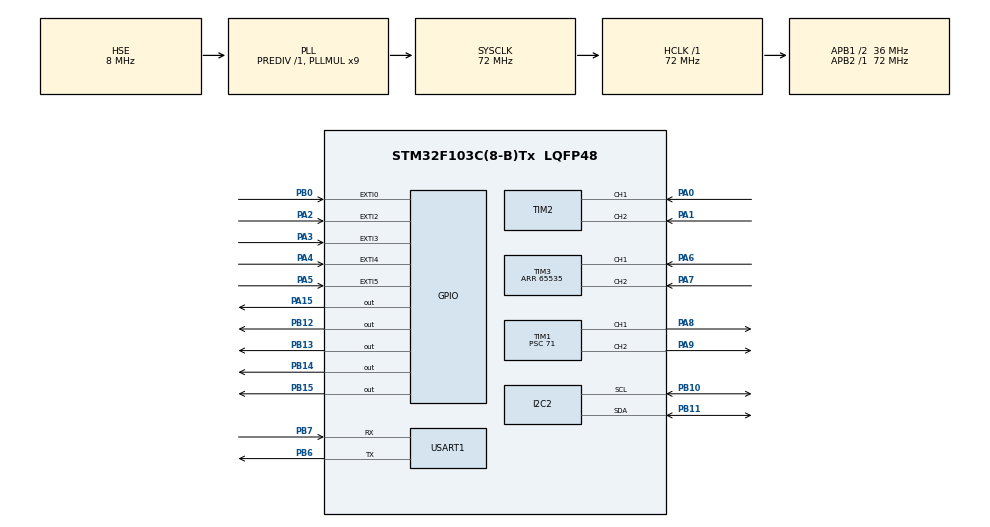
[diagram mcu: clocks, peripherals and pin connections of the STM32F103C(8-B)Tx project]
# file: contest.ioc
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Dma.Request0=USART1_RX
Dma.Request1=USART1_TX
Dma.USART1_RX.0.Direction=DMA_PERIPH_TO_MEMORY
Dma.USART1_RX.0.Instance=DMA1_Channel5
Dma.USART1_RX.0.MemDataAlignment=DMA_MDATAALIGN_BYTE
Dma.USART1_RX.0.MemInc=DMA_MINC_ENABLE
Dma.USART1_RX.0.Mode=DMA_NORMAL
Dma.USART1_RX.0.PeriphDataAlignment=DMA_PDATAALIGN_BYTE
Dma.USART1_RX.0.PeriphInc=DMA_PINC_DISABLE
Dma.USART1_RX.0.Priority=DMA_PRIORITY_LOW
Dma.USART1_TX.1.Direction=DMA_MEMORY_TO_PERIPH
Dma.USART1_TX.1.Instance=DMA1_Channel4
Dma.USART1_TX.1.MemDataAlignment=DMA_MDATAALIGN_BYTE
Dma.USART1_TX.1.MemInc=DMA_MINC_ENABLE
Dma.USART1_TX.1.Mode=DMA_NORMAL
Dma.USART1_TX.1.PeriphDataAlignment=DMA_PDATAALIGN_BYTE
Dma.USART1_TX.1.PeriphInc=DMA_PINC_DISABLE
Dma.USART1_TX.1.Priority=DMA_PRIORITY_LOW
I2C2.I2C_Mode=I2C_Fast
Mcu.Family=STM32F1
Mcu.Name=STM32F103C(8-B)Tx
Mcu.Package=LQFP48
NVIC.DMA1_Channel4_IRQn=true\:0\:0\:false\:false\:true\:false\:true\:true
NVIC.DMA1_Channel5_IRQn=true\:0\:0\:false\:false\:true\:false\:true\:true
NVIC.EXTI0_IRQn=true\:1\:0\:true\:false\:true\:true\:true\:true
NVIC.EXTI2_IRQn=true\:1\:0\:true\:false\:true\:true\:true\:true
NVIC.EXTI3_IRQn=true\:1\:0\:true\:false\:true\:true\:true\:true
NVIC.EXTI4_IRQn=true\:1\:0\:true\:false\:true\:true\:true\:true
NVIC.EXTI9_5_IRQn=true\:1\:0\:true\:false\:true\:true\:true\:true
NVIC.PriorityGroup=NVIC_PRIORITYGROUP_4
NVIC.TIM4_IRQn=true\:15\:0\:false\:false\:true\:false\:true\:true
NVIC.TimeBase=TIM4_IRQn
NVIC.TimeBaseIP=TIM4
NVIC.USART1_IRQn=true\:0\:0\:false\:false\:true\:true\:true\:true
PA0-WKUP.GPIO_PuPd=GPIO_PULLUP
PA0-WKUP.Signal=S_TIM2_CH1_ETR
PA1.GPIO_PuPd=GPIO_PULLUP
PA1.Signal=S_TIM2_CH2
PA13.Mode=Serial_Wire
PA13.Signal=SYS_JTMS-SWDIO
PA14.Mode=Serial_Wire
PA14.Signal=SYS_JTCK-SWCLK
PA15.GPIO_Speed=GPIO_SPEED_FREQ_HIGH
PA15.Signal=GPIO_Output
PA2.GPIO_ModeDefaultEXTI=GPIO_MODE_IT_RISING_FALLING
PA2.GPIO_PuPd=GPIO_PULLUP
PA2.Signal=GPXTI2
PA3.GPIO_ModeDefaultEXTI=GPIO_MODE_IT_RISING_FALLING
PA3.GPIO_PuPd=GPIO_PULLUP
PA3.Signal=GPXTI3
PA4.GPIO_ModeDefaultEXTI=GPIO_MODE_IT_RISING_FALLING
PA4.GPIO_PuPd=GPIO_PULLUP
PA4.Signal=GPXTI4
PA5.GPIO_ModeDefaultEXTI=GPIO_MODE_IT_RISING_FALLING
PA5.GPIO_PuPd=GPIO_PULLUP
PA5.Signal=GPXTI5
PA6.GPIO_PuPd=GPIO_PULLUP
PA6.Signal=S_TIM3_CH1
PA7.GPIO_PuPd=GPIO_PULLUP
PA7.Signal=S_TIM3_CH2
PA8.Signal=S_TIM1_CH1
PA9.Signal=S_TIM1_CH2
PB0.GPIO_ModeDefaultEXTI=GPIO_MODE_IT_RISING_FALLING
PB0.GPIO_PuPd=GPIO_PULLUP
PB0.Signal=GPXTI0
PB10.Mode=I2C
PB10.Signal=I2C2_SCL
PB11.Mode=I2C
PB11.Signal=I2C2_SDA
PB12.GPIO_Speed=GPIO_SPEED_FREQ_LOW
PB12.Signal=GPIO_Output
PB13.Signal=GPIO_Output
PB14.GPIO_Speed=GPIO_SPEED_FREQ_LOW
PB14.Signal=GPIO_Output
PB15.GPIO_Speed=GPIO_SPEED_FREQ_LOW
PB15.Signal=GPIO_Output
PB6.Mode=Asynchronous
PB6.Signal=USART1_TX
PB7.Mode=Asynchronous
PB7.Signal=USART1_RX
PC14-OSC32_IN.Mode=LSE-External-Oscillator
PC14-OSC32_IN.Signal=RCC_OSC32_IN
PC15-OSC32_OUT.Mode=LSE-External-Oscillator
PC15-OSC32_OUT.Signal=RCC_OSC32_OUT
PD0-OSC_IN.Mode=HSE-External-Oscillator
PD0-OSC_IN.Signal=RCC_OSC_IN
PD1-OSC_OUT.Mode=HSE-External-Oscillator
PD1-OSC_OUT.Signal=RCC_OSC_OUT
ProjectManager.HeapSize=0x200
ProjectManager.StackSize=0x400
ProjectManager.TargetToolchain=MDK-ARM V5.32
RCC.AHBFreq_Value=72000000
RCC.APB1CLKDivider=RCC_HCLK_DIV2
RCC.APB1Freq_Value=36000000
RCC.APB1TimFreq_Value=72000000
RCC.APB2Freq_Value=72000000
RCC.APB2TimFreq_Value=72000000
RCC.HCLKFreq_Value=72000000
RCC.PLLMUL=RCC_PLL_MUL9
RCC.PLLSourceVirtual=RCC_PLLSOURCE_HSE
RCC.SYSCLKFreq_VALUE=72000000
RCC.SYSCLKSource=RCC_SYSCLKSOURCE_PLLCLK
RCC.USBFreq_Value=72000000
SH.S_TIM1_CH1.0=TIM1_CH1,PWM Generation1 CH1
SH.S_TIM1_CH2.0=TIM1_CH2,PWM Generation2 CH2
SH.S_TIM2_CH1_ETR.0=TIM2_CH1,Encoder_Interface
SH.S_TIM2_CH2.0=TIM2_CH2,Encoder_Interface
SH.S_TIM3_CH1.0=TIM3_CH1,Encoder_Interface
SH.S_TIM3_CH2.0=TIM3_CH2,Encoder_Interface
TIM1.AutoReloadPreload=TIM_AUTORELOAD_PRELOAD_ENABLE
TIM1.Channel-PWM\ Generation1\ CH1=TIM_CHANNEL_1
TIM1.Channel-PWM\ Generation2\ CH2=TIM_CHANNEL_2
TIM1.Period=19999
TIM1.Prescaler=71
TIM2.EncoderMode=TIM_ENCODERMODE_TI12
TIM2.IC2Polarity=TIM_ICPOLARITY_FALLING
TIM3.EncoderMode=TIM_ENCODERMODE_TI12
TIM3.IC2Polarity=TIM_ICPOLARITY_FALLING
TIM3.Period=65535
USART1.VirtualMode=VM_ASYNC
VP_SYS_VS_tim4.Mode=TIM4
VP_TIM1_VS_ClockSourceINT.Mode=Internal
board=custom

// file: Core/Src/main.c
/* USER CODE BEGIN Header */
/**
  ******************************************************************************
  * @file           : main.c
  * @brief          : Main program body
  ******************************************************************************
  * @attention
  *
  * Copyright (c) 2025 STMicroelectronics.
  * All rights reserved.
  *
  * This software is licensed under terms that can be found in the LICENSE file
  * in the root directory of this software component.
  * If no LICENSE file comes with this software, it is provided AS-IS.
  *
  ******************************************************************************
  */
/* USER CODE END Header */
#include "main.h"
#include "dma.h"
#include "i2c.h"
#include "tim.h"
#include "usart.h"
#include "gpio.h"

/* USER CODE BEGIN Includes */
#include "global.h"
#include "FreeRTOSConfig.h"
#include "FreeRTOS.h"
#include "task.h"
#include "semphr.h"
#include <stdio.h>
#include "math.h"
#include <stdarg.h>
#include <string.h>
#include "filter.h"
#include "servo.h"
#include "stm32f1xx_hal.h"
#include "oled.h"
#include "usart.h"
#include "mpu6050.h"
#include "imu.h"
#include "motor.h"
#include "pid.h"
#include "mutex_lock_and_message_queue.h"
#include "data_protocol.h"
#include "eletube.h"
#include <stdbool.h>

/* USER CODE END Includes */

/* USER CODE BEGIN PV */

// 定义机器人状态互斥锁实例
CustomMutex_t robot_state_mutex = {
    .locked = 0,
    .owner = NULL,
    .name = "robot_state_mutex",
    .lock_count = 0
};

// 定义导航指令消息队列（缓冲区大小为5个消息）
NavCmd_t nav_queue_buffer[NAV_QUEUE_SIZE];  // 消息缓冲区
CustomQueue_t nav_cmd_queue;                // 导航指令队列实例

/* USER CODE END PV */

void SystemClock_Config(void);
/* USER CODE BEGIN PFP */
void debug_printf(const char *fmt, ...);
/* USER CODE END PFP */

/* USER CODE BEGIN 0 */

TaskHandle_t  led1_TaskHandle_t;
TaskHandle_t  led2_TaskHandle_t;
TaskHandle_t  filter_TaskHandle_t;
TaskHandle_t  servo_TaskHandle_t;
TaskHandle_t  oled_TaskHandle_t;
TaskHandle_t  usart_TaskHandle_t;
TaskHandle_t  mpu6050_TaskHandle_t;
TaskHandle_t  motor_TaskHandle_t;
TaskHandle_t  decision_TaskHandle_t;
TaskHandle_t  state_update_TaskHandle_t;
TaskHandle_t  openmv_TaskHandle_t;
TaskHandle_t  eletube_TaskHandle_t;
TaskHandle_t  debug_send_TaskHandle_t;

/* 在全局变量区域添加 */
//SemaphoreHandle_t xSensorMutex;  // 传感器数据互斥锁
float pitch, roll, yaw;
RobotState_t g_robot_state = {0};
SemaphoreHandle_t xStateMutex;

void led1_task() {
	while(1){
		HAL_GPIO_TogglePin(GPIOA, GPIO_PIN_8);
		vTaskDelay(1000);
	}
}

void led2_task(){
	while(1){
		HAL_GPIO_TogglePin(GPIOA, GPIO_PIN_15);
		vTaskDelay(2000);
	}
}

Filter_t Data_Filter = {0.8,0,0};

AVG_Flt_t AVG_Filter;

MEDIAN_Flt_t MEDIAN_Filter;

//FIR_Flt_t FIR_Filter;

Klm_Flt_t KLM_Filter =
{
	0.02,//估算协方差
	0,//卡尔曼增益
	0.001,//过程噪声协方差，Q增大，动态响应变快，收敛稳定性变坏
	0.1,//测量噪声协方差，R增大，动态响应变慢，收敛稳定性变好
	0//卡尔曼滤波输出
};

double Data;
double Result;
double t;
double Test;

void filter_task(){
//	//低通滤波测试
//	while(1){
//		Data = sin(t)+0.1*sin(50*t);
//		Result = Low_Pass_Filter(&Data_Filter,Data);
//		t+=0.01;
//		while(huart1.gState != HAL_UART_STATE_READY) {
//			vTaskDelay(1); // 在FreeRTOS中让出CPU
//		}
//	debug_printf("%.3f,%.3f\n",Data,Result);
//		vTaskDelay(50);
//	}
//

//	//滑动均值滤波测试
//	while(1){
//		Data = sin(t)+0.1*sin(50*t);
////		Data = sin(t);
////		if((int)(t*100)%100 == 0){
////			Data = sin(t) + 2 * sin(50 * t);
////		}
//		Result = Average_Filter(&AVG_Filter,Data);
//		t += 0.01;
//		debug_printf("%.3f,%.3f\n",Data,Result);
//		vTaskDelay(50);
//	}

////中值滤波测试
//while(1){
////		Data = sin(t) + 0.1 * sin(50 * t);
//		Data = sin(t);
//		if((int)(t*100)%100 == 0){
//			Data = sin(t) + 2 * sin(50 * t);
//		}
//		Result = Median_Filter(&MEDIAN_Filter,Data);
//		t += 0.01;
//		debug_printf("%.3f,%.3f\n",Data,Result);
//		vTaskDelay(50);
//	}

////带通滤波测试
//FIR_Filter.Fs = 10000;
//FIR_Filter.Fc1 = 500;
//FIR_Filter.Fc2 = 1500;
//FIRBandPassFilter_Init(&FIR_Filter);
//while(1){
//	Data = sin(2000*PI*t)+sin(4000*PI*t);
//	Test = sin(2000*PI*t);
//	Result = FIR_BandPass_Filter(&FIR_Filter,Data);
//	t += 0.01;
//	debug_printf("%.3f,%.3f\n",Data,Result);
//	vTaskDelay(50);
//}

//卡尔曼滤波测试
while(1){
	Data = sin(200*PI*t)+sin(2000*PI*t)+sin(4000*PI*t);
	Test = sin(2000*PI*t);
	Result = Median_Filter(&MEDIAN_Filter,Data);
	t += 0.0001;
//	debug_printf("%.3f,%.3f\n",Data,Result);
	vTaskDelay(50);
	}

}

int test_pulse = 600;

//void servo_task(){
//		uint16_t brightness = 0;
//    int direction = 1; // 1:增加亮度, 0:减小亮度
//
//    while(1) {
//        // 呼吸灯效果
//        Servo_SetPWM(&htim1, TIM_CHANNEL_1, brightness);
//
//        if(direction) {
//            brightness += 100;
//            if(brightness >= 19999) direction = 0;
//        } else {
//            brightness -= 100;
//            if(brightness == 0) direction = 1;
//        }
//
//        vTaskDelay(10); // 调整延时控制变化速度
//    }
//}

/* 修改 oled_task 函数 */
void oled_task() {
    char displayBuffer[64];  // 显示缓冲区

    while(1) {
        // 使用互斥锁获取传感器数据
//        if(xSemaphoreTake(xSensorMutex, portMAX_DELAY) == pdTRUE) {
//            for(int i = 0; i < 3; i++) {
//                accel[i] = g_accel[i];
//                gyro[i] = g_gyro[i];
//            }
//            xSemaphoreGive(xSensorMutex);
//        }

        // 清屏
        OLED_FullyClear();

        // 显示陀螺仪数据
        snprintf(displayBuffer, sizeof(displayBuffer), "pitch:%.2f", Att_Angle.pitch);
        OLED_ShowStr(0, 0, (unsigned char *)displayBuffer, 2);

        snprintf(displayBuffer, sizeof(displayBuffer), "roll:%.2f", Att_Angle.roll);
        OLED_ShowStr(0, 3, (unsigned char *)displayBuffer, 2);

        snprintf(displayBuffer, sizeof(displayBuffer), "yaw:%.2f", Att_Angle.yaw);
        OLED_ShowStr(0, 6, (unsigned char *)displayBuffer, 2);

        vTaskDelay(200); // OLED刷新率控制
    }
}

	//// 开启printf的使用，定位到串口1
	int fputc(int ch, FILE *f) // printf
	{
		HAL_UART_Transmit(&huart1, (uint8_t *)&ch, 1, 0xffff);
		return ch;
	}

	int fgetc(FILE *f) // getchar
	{
		uint8_t ch = 0;
		HAL_UART_Receive(&huart1, &ch, 1, 0xffff);
		return ch;
	}

	int tick_time = 0;
void usart_task(){
	while (1)
  {
//   // HAL_UART_Transmit(&huart1, (uint8_t *)"Hello, World!\r\n", 15, 1000);
//    printf("printf Hello, World!\r\n");
//    HAL_GPIO_WritePin(GPIOC, GPIO_PIN_13, GPIO_PIN_RESET);
//    HAL_Delay(1000);
//    HAL_GPIO_WritePin(GPIOC, GPIO_PIN_13, GPIO_PIN_SET);
//    HAL_Delay(1000);
		tick_time++;
    // chelk the time
    // printf("tick_time: %d\r\n", tick_time);
    if (tick_time % 7200000 == 0)
    {
      HAL_GPIO_WritePin(GPIOC, GPIO_PIN_13, GPIO_PIN_RESET);
    }
    if (tick_time % 7200000 == 7200000/2)
    {
      HAL_GPIO_WritePin(GPIOC, GPIO_PIN_13, GPIO_PIN_SET);
    }
//		debug_printf("1,2,3,4,5,6\n");
		vTaskDelay(500);
    // open the uart1 reciver
  }
}

void mpu6050_task(){
		const TickType_t xPeriod = pdMS_TO_TICKS(10); // 10ms更新周期
    TickType_t xLastWakeTime = xTaskGetTickCount();
    while(1) {
//        convert_uint8_to_uint16(accel,gyro);
        // 使用互斥锁保护全局变量
//        if(xSemaphoreTake(xSensorMutex, portMAX_DELAY) == pdTRUE) {
//            for(int i = 0; i < 3; i++) {
//                g_accel[i] = accel[i];
//                g_gyro[i] = gyro[i];
//            }
//            xSemaphoreGive(xSensorMutex);
//        }
				Prepare_Data(); 																								//获取姿态解算所需数据
				IMUupdate(&Gyr_filt,&Acc_filt,&Att_Angle,0.01f);
        // 打印姿态角
//        debug_printf("Pitch: %.2f, Roll: %.2f, Yaw: %.2f\r\n", Att_Angle.pitch, Att_Angle.roll, Att_Angle.yaw);

//        vTaskDelay(10);
				vTaskDelayUntil(&xLastWakeTime, xPeriod);
    }
}

//QueueHandle_t nav_cmd_queue;  // 导航指令队列
// 控制器初始化
PID_t speed_pid_left = { .Kp=2000, .Ki=100, .Kd=50, .OutMin=-15000, .OutMax=15000 ,.IntMinThreshold=0.03,.ErrorIntMax=10000,.ErrorIntMin=-10000 };
PID_t speed_pid_right = { .Kp=2000, .Ki=100, .Kd=50, .OutMin=-15000, .OutMax=15000,.IntMinThreshold=0.03,.ErrorIntMax=10000,.ErrorIntMin=-10000 };
PID_t angle_pid = { .Kp=30, .Ki=0.001, .Kd=850, .OutMin=-5000, .OutMax=5000,.IntMinThreshold=0.5,.ErrorIntMax=10000,.ErrorIntMin=-10000};
TD angle_td = { .r=250.0f, .h=0.01f, .T=0.01f };
float target_left;
float target_right;
float target_angle;
float omega_cmd;
float speedMax = 130;

void motor_task(void) {

    const TickType_t xPeriod = pdMS_TO_TICKS(10); // 10ms控制周期
    TickType_t xLastWakeTime = xTaskGetTickCount();
    RobotState_t local_state;
		NavCmd_t nav_cmd;

    while(1) {

        // 1. 安全获取状态数据
				CustomMutex_Lock(&robot_state_mutex);
				memcpy(&local_state, &g_robot_state, sizeof(RobotState_t));
				CustomMutex_Unlock(&robot_state_mutex);

        // 2. 获取导航指令（非阻塞接收，有新消息则更新）
        NavCmd_t new_cmd;
        QueueStatus_t status = CustomQueue_Receive(&nav_cmd_queue, &new_cmd);
        if (status == QUEUE_OK) {
            nav_cmd = new_cmd;  // 更新当前导航指令
            angle_td.aim = new_cmd.target_angle;  // 应用新的目标角度
        }

        // 3. 处理角度指令
        Clip_TD_Function(&angle_td, speedMax);

        // 4. 角度环控制
        angle_pid.Target = angle_td.x1;
        angle_pid.Actual = local_state.global.yaw;
        PID_Update(&angle_pid);

        // 5. 运动学反解
         omega_cmd = (angle_pid.Out + angle_td.x2 * 0.1f)*AtR;
         target_left = nav_cmd.base_speed - (omega_cmd * TRACK_WIDTH / 2.0f);
         target_right = nav_cmd.base_speed + (omega_cmd * TRACK_WIDTH / 2.0f);

        // 6. 速度环控制
        speed_pid_left.Target = target_left;
        speed_pid_left.Actual = local_state.left_speed;
        PID_Update(&speed_pid_left);
        leftMotorControl(speed_pid_left.Out);

        speed_pid_right.Target = target_right;
        speed_pid_right.Actual = local_state.right_speed;
        PID_Update(&speed_pid_right);
        rightMotorControl(speed_pid_right.Out);

        // 7. 精确延迟
        vTaskDelayUntil(&xLastWakeTime, xPeriod);
				//vTaskDelay(10);
    }
}

//void decision_task(void) {
//    const TickType_t xPeriod = pdMS_TO_TICKS(100); // 100ms决策周期
//    TickType_t xLastWakeTime = xTaskGetTickCount();
//
//    // 全局路径点序列 (世界坐标系)
//    const Point2D_t global_waypoints[] = {
//        {1.0f, 0.0f},   // 前进1米
//        {1.0f, 1.0f},   // 右转90度
//        {0.0f, 1.0f},   // 前进2米
//        {0.0f, 0.0f}    // 回到起点
//    };
//
//    NavCmd_t nav_cmd = {0};
//    uint8_t waypoint_count = sizeof(global_waypoints)/sizeof(global_waypoints[0]);
//		float target_yaw = 0.0f;
//    float yaw_error = 0.0f;

//    while(1) {
//				// 使用互斥锁保护状态读取
//        CustomMutex_Lock(&robot_state_mutex);
//        RobotState_t local_state = g_robot_state;
//        CustomMutex_Unlock(&robot_state_mutex);

//
//				// 2. 状态机处理
//        switch(local_state.nav_state) {
//            // 初始化状态
//            case STATE_INIT:
//                // 重置导航状态
//								g_robot_state.current_waypoint = 0;
//								g_robot_state.nav_state = STATE_TURNING_IN_PLACE; // 先进行原地旋转
//
//                nav_cmd.base_speed = 0.0f;
//                nav_cmd.target_angle = local_state.global.yaw;
//                break;
//
//            // 移动状态 - 前往当前目标点
//            case STATE_MOVING: {
//                // 检查是否还有未完成的路径点
//                if (local_state.current_waypoint >= waypoint_count) {
//                    // 所有路径点完成
//										g_robot_state.nav_state = STATE_FINISHED;
//                    break;
//                }
//
//                // 获取当前目标点
//                Point2D_t target = global_waypoints[local_state.current_waypoint];
//
//                // 计算到目标的距离和方向
//                float dx = target.x - local_state.global.x;
//                float dy = target.y - local_state.global.y;
//                float distance = sqrtf(dx*dx + dy*dy);
//                target_yaw = atan2f(dy, dx) * 180.0f / PI;
//
//                // 检查是否到达目标
//                if (distance < 0.05f) { // 5cm容差
//                    // 转换到到达状态
//										g_robot_state.nav_state = STATE_ARRIVED;

//                    nav_cmd.base_speed = 0.0f;
//                    nav_cmd.target_angle = target_yaw;
//                }else {
//                    // 检查是否需要转向
//                    yaw_error = fabs(target_yaw - local_state.global.yaw);
//                    if (yaw_error > 10.0f) { // 角度偏差大于10度需要转向
//                        g_robot_state.nav_state = STATE_TURNING_IN_PLACE;
//                        g_robot_state.target_yaw = target_yaw;
//										}else {
//												// 设置导航指令
//												nav_cmd.base_speed = fminf(0.5f, distance * 0.5f); // 接近时减速
//												nav_cmd.target_angle = target_yaw;
//
//												// 更新全局状态
//												g_robot_state.target_yaw = target_yaw;
//												g_robot_state.target_speed = nav_cmd.base_speed;
//													}
//											}
//                break;
//            }
//            // 到达路径点状态 - 短暂停顿
//            case STATE_ARRIVED:
//                // 移动到下一个路径点
//								g_robot_state.current_waypoint++;
//
//								// 检查是否完成所有路径点
//								if (g_robot_state.current_waypoint >= waypoint_count) {
//										g_robot_state.nav_state = STATE_FINISHED;
//								} else {
//										Point2D_t next_target = global_waypoints[g_robot_state.current_waypoint];
//                    float dx = next_target.x - g_robot_state.global.x;
//                    float dy = next_target.y - g_robot_state.global.y;
//                    g_robot_state.target_yaw = atan2f(dy, dx) * 180.0f / PI;
//										g_robot_state.nav_state = STATE_MOVING;
//								}
//
//                // 短暂停顿
//                vTaskDelay(200);
//                break;
//						// 原地旋转状态
//            case STATE_TURNING_IN_PLACE: {
//                target_yaw = g_robot_state.target_yaw;
//
//                yaw_error = target_yaw - local_state.global.yaw;
//
//                // 角度容差 ±2度
//                if (fabs(yaw_error) < 2.0f) {
//                    g_robot_state.nav_state = STATE_MOVING;
//
//                    nav_cmd.base_speed = 0.0f;
//                } else {
//                    // 原地旋转控制
//                    nav_cmd.base_speed = 0.0f; // 线速度为0
//
//                    // 根据角度差设置旋转速度
//                    float rotation_speed = fminf(30.0f, fabs(yaw_error) * 0.5f);
//                    rotation_speed = rotation_speed * (yaw_error > 0 ? 1 : -1);
//
//                    // 发送旋转指令
//                    // 实际应用中可能需要通过队列发送到电机任务
//                    // 这里简化为直接设置目标角度
//                    nav_cmd.target_angle = local_state.global.yaw + rotation_speed;
//                }
//                break;
//            }
//
//            // 完成路径状态 - 保持停止
//            case STATE_FINISHED:
//                nav_cmd.base_speed = 0.0f;
//                nav_cmd.target_angle = local_state.global.yaw;
//                break;
//
//            // 错误状态 - 安全停止
//            case STATE_ERROR:
//            default:
//                nav_cmd.base_speed = 0.0f;
//                nav_cmd.target_angle = local_state.global.yaw;
//                break;
//        }
//
//        // 3. 发送导航指令（使用带超时的发送）
//        QueueStatus_t status = CustomQueue_SendTimeout(&nav_cmd_queue, &nav_cmd, 100);
//        if (status != QUEUE_OK) {
//            // 发送失败处理（如调试输出）
//            debug_printf("Queue send failed: %d\n", status);
//        }
//
//				// 4. 状态调试输出
//        #ifdef DEBUG_NAV_STATE
//        debug_printf("State: %d WP: %d/%d Cmd: %.2fm/s %.0f°\n",
//                    local_state.nav_state,
//                    local_state.current_waypoint,
//                    waypoint_count,
//                    nav_cmd.base_speed,
//                    nav_cmd.target_angle);
//        #endif
//
//        // 5. 精确延迟
//			vTaskDelayUntil(&xLastWakeTime, xPeriod);
//				//vTaskDelay(100);
//    }
//}

// 全局调试信息变量
DebugInfo_t g_debug_info;
CustomMutex_t debug_info_mutex = {.locked = 0,.owner = NULL,.name = "debug_info_mutex",.lock_count = 0};

void debug_send_task(void) {
    const TickType_t xPeriod = pdMS_TO_TICKS(500); // 发送周期
    TickType_t xLastWakeTime = xTaskGetTickCount();

    while(1) {
        DebugInfo_t local_info;

        // 安全复制调试信息
        CustomMutex_Lock(&debug_info_mutex);
        memcpy(&local_info, &g_debug_info, sizeof(DebugInfo_t));
        CustomMutex_Unlock(&debug_info_mutex);

        // 发送调试信息
        debug_printf("%lu,%.2f,%.2f,%.2f,%.2f\n",
                     local_info.timestamp,
                     local_info.target_angle,
                     local_info.current_yaw,
                     local_info.angle_adjust,
                     local_info.base_speed);

        // 精确延迟
        vTaskDelayUntil(&xLastWakeTime, xPeriod);
    }
}

void decision_task(void) {
		State_t state;
    const TickType_t xPeriod = pdMS_TO_TICKS(10); // 决策周期10ms
    TickType_t xLastWakeTime = xTaskGetTickCount();

    NavCmd_t nav_cmd = {.base_speed = 0.0f, .target_angle = g_robot_state.global.yaw};

    while(1) {
        // 1. 读取当前循迹模块状态
        uint8_t sensor_state = 0;

        // 构建传感器状态字节
        for(int i = 0; i < 5; i++) {
            if(etubeCkeck[i] == 0) {
                sensor_state |= (1 << i);
            }
        }

        // 获取当前偏航角
        float current_yaw;
        CustomMutex_Lock(&robot_state_mutex);
        current_yaw = g_robot_state.global.yaw;
        CustomMutex_Unlock(&robot_state_mutex);

        // 2. 状态机处理
        switch(state) {
            // 停止状态（检测不到黑线）
            case STATE_STOPPED:
                nav_cmd.base_speed = 0.0f;
                nav_cmd.target_angle = current_yaw;

                // 如果检测到黑线，进入直行状态
                if(sensor_state != 0) {
                    state = STATE_STRAIGHT;
                    nav_cmd.base_speed = STRAIGHT_SPEED;
                }
                break;

            // 直行状态
            case STATE_STRAIGHT:
                nav_cmd.base_speed = STRAIGHT_SPEED;

                // 根据传感器状态调整方向
                switch(sensor_state) {
                    case 0x04: // 00000100 - 只有中间传感器
                        nav_cmd.target_angle = current_yaw;
                        break;

                    case 0x02: // 00000010 - 只有左1传感器
                    case 0x06: // 00000110 - 中间和左1
                        nav_cmd.target_angle = current_yaw - SMALL_ADJUST; // 小幅左转
                        break;

                    case 0x08: // 00001000 - 只有右1传感器
                    case 0x0C: // 00001100 - 中间和右1
                        nav_cmd.target_angle = current_yaw + SMALL_ADJUST; // 小幅右转
                        break;

                    case 0x01: // 00000001 - 只有左2传感器
                        state = STATE_LEFT_TURN;
                        nav_cmd.base_speed = TURN_SPEED;
                        nav_cmd.target_angle = current_yaw - LARGE_ADJUST; // 大幅左转
                        break;

                    case 0x10: // 00010000 - 只有右2传感器
                        state = STATE_RIGHT_TURN;
                        nav_cmd.base_speed = TURN_SPEED;
                        nav_cmd.target_angle = current_yaw + LARGE_ADJUST; // 大幅右转
                        break;

                    default:
                        // 如果所有传感器都未检测到，进入停止状态
                        if(sensor_state == 0) {
                            state = STATE_STOPPED;
                        }
                        break;
                }
                break;

            // 左转状态
            case STATE_LEFT_TURN:
                nav_cmd.base_speed = TURN_SPEED;
                nav_cmd.target_angle = current_yaw - LARGE_ADJUST; // 持续左转

                // 检查是否回到直行状态
                if(sensor_state & 0x04) { // 中间传感器检测到
                    state = STATE_STRAIGHT;
                    nav_cmd.base_speed = STRAIGHT_SPEED;
                }
                // 检查是否完全丢失线路
                else if(sensor_state == 0) {
                    state = STATE_STOPPED;
                }
                break;

            // 右转状态
            case STATE_RIGHT_TURN:
                nav_cmd.base_speed = TURN_SPEED;
                nav_cmd.target_angle = current_yaw + LARGE_ADJUST; // 持续右转

                // 检查是否回到直行状态
                if(sensor_state & 0x04) { // 中间传感器检测到
                    state = STATE_STRAIGHT;
                    nav_cmd.base_speed = STRAIGHT_SPEED;
                }
                // 检查是否完全丢失线路
                else if(sensor_state == 0) {
                    state = STATE_STOPPED;
                }
                break;
        }

        // 3. 更新调试信息
        CustomMutex_Lock(&debug_info_mutex);
        g_debug_info.target_angle = nav_cmd.target_angle;
        g_debug_info.current_yaw = current_yaw;
        g_debug_info.angle_adjust = nav_cmd.target_angle - current_yaw;
        g_debug_info.base_speed = nav_cmd.base_speed;
        g_debug_info.timestamp = xTaskGetTickCount() * portTICK_PERIOD_MS;
        CustomMutex_Unlock(&debug_info_mutex);

        // 4. 发送导航指令
        QueueStatus_t status = CustomQueue_SendTimeout(&nav_cmd_queue, &nav_cmd, 10);
        if(status != QUEUE_OK) {
            debug_printf("NavCmd send err:%d\n", status);
        }

        // 5. 精确延迟
        vTaskDelayUntil(&xLastWakeTime, xPeriod);
    }
}

void state_update_task(void) {
    const TickType_t xPeriod = pdMS_TO_TICKS(10); // 10ms更新周期
    TickType_t xLastWakeTime = xTaskGetTickCount();

    // 状态变量
    float prev_speed = 0.0f;
    float prev_yaw = 0.0f;

		float left_speed;
		float right_speed;
		float current_yaw;
		float dt;
		float linear_vel;
		float angular_vel;
		float yaw_rad;
		float vx;
		float vy;
		float delta_x;
		float delta_y;
    while(1) {
        // 1. 获取传感器数据
         left_speed = leftWheelSpeed();
         right_speed = rightWheelSpeed();
         current_yaw = Att_Angle.yaw; // 来自IMU

        // 2. 计算时间差 (秒)
         dt = xPeriod * portTICK_PERIOD_MS * 0.001f;

        // 3. 计算局部速度
         linear_vel = (left_speed + right_speed) / 2.0f;
         angular_vel = (right_speed - left_speed) / TRACK_WIDTH;

        // 4. 计算全局速度
         yaw_rad = current_yaw * PI / 180.0f; // 转为弧度
         vx = linear_vel * cosf(yaw_rad);
         vy = linear_vel * sinf(yaw_rad);

        // 5. 计算位置变化 (梯形积分提高精度)
         delta_x = (prev_speed * cosf(prev_yaw) +
                       linear_vel * cosf(yaw_rad)) * dt / 2.0f;
         delta_y = (prev_speed * sinf(prev_yaw) +
                       linear_vel * sinf(yaw_rad)) * dt / 2.0f;

        // 6. 更新全局状态 (带互斥锁保护)
				CustomMutex_Lock(&robot_state_mutex);
				// 更新全局位置
				g_robot_state.global.x += delta_x;
				g_robot_state.global.y += delta_y;
				g_robot_state.global.yaw = current_yaw;

				// 更新全局速度
				g_robot_state.global.vx = vx;
				g_robot_state.global.vy = vy;

				// 更新局部速度
				g_robot_state.local_vel.linear = linear_vel;
				g_robot_state.local_vel.angular = angular_vel;
				// 更新系统状态
				g_robot_state.update_count++;

				CustomMutex_Unlock(&robot_state_mutex);

        // 7. 保存当前值供下次使用
        prev_speed = linear_vel;
        prev_yaw = yaw_rad;

				g_robot_state.left_speed = left_speed;
				g_robot_state.right_speed = right_speed;

        // 8. 精确延迟
        vTaskDelayUntil(&xLastWakeTime, xPeriod);
				//vTaskDelay(10);
    }
}

//void openmv_task(void *pvParameters) {
//    // 初始化
//    OpenMVData_t local_openmv_data;
//    uint32_t last_request_time = 0;
//
//    // 发送初始化命令
//    uint8_t init_cmd = 0x01; // 启动检测命令
//    openmv_send_command(0x01, &init_cmd, 1);
//
//    while (1) {
//        // 周期性请求数据(每50ms一次)
//        if (xTaskGetTickCount() - last_request_time > 50) {
//            openmv_send_command(0x02, NULL, 0); // 请求最新检测结果
//            last_request_time = xTaskGetTickCount();
//        }
//
//        // 读取OpenMV数据(带互斥锁)
//        CustomMutex_Lock(&openmv_data_mutex);
//        memcpy(&local_openmv_data, &g_openmv_data, sizeof(OpenMVData_t));
//        CustomMutex_Unlock(&openmv_data_mutex);
//
//        vTaskDelay(10); // 10ms周期
//    }
//}

void eletube_task(void){
		const TickType_t xPeriod = pdMS_TO_TICKS(500); // 10ms更新周期
    TickType_t xLastWakeTime = xTaskGetTickCount();

		while(1){
//		Etube_Check();
    vTaskDelayUntil(&xLastWakeTime, xPeriod);
		//vTaskDelay(10);
		}
}

/* USER CODE END 0 */

int main(void)
{

  /* MCU Configuration--------------------------------------------------------*/

  /* Reset of all peripherals, Initializes the Flash interface and the Systick. */
  HAL_Init();

  /* Configure the system clock */
  SystemClock_Config();

  /* Initialize all configured peripherals */
  MX_GPIO_Init();
  MX_DMA_Init();
  MX_USART1_UART_Init();
  MX_TIM1_Init();
  MX_I2C2_Init();
  MX_TIM2_Init();
  MX_TIM3_Init();
  /* USER CODE BEGIN 2 */

	// 初始化自定义消息队列（导航指令队列）
CustomQueue_Init(&nav_cmd_queue,
                nav_queue_buffer,
                sizeof(NavCmd_t),
                NAV_QUEUE_SIZE,
                "nav_cmd_queue");

//	OLED_Init();
	HAL_TIM_PWM_Start(&htim1, TIM_CHANNEL_1);
	uart_init();
	MPU6050_Init();
	motorInit();
//	xTaskCreate((TaskFunction_t )led1_task,
//					(const char*    )"led1_task",
//					(uint16_t       )128,
//					(void*          )NULL,
//					(UBaseType_t    )1,
//					(TaskHandle_t*  )&led1_TaskHandle_t);
	xTaskCreate((TaskFunction_t )led2_task,
					(const char*    )"led2_task",
					(uint16_t       )128,
					(void*          )NULL,
					(UBaseType_t    )1,
					(TaskHandle_t*  )&led2_TaskHandle_t);
//	xTaskCreate((TaskFunction_t )filter_task,
//					(const char*    )"filter_task",
//					(uint16_t       )128,
//					(void*          )NULL,
//					(UBaseType_t    )1,
//					(TaskHandle_t*  )&filter_TaskHandle_t);
// 	xTaskCreate((TaskFunction_t )servo_task,
//					(const char*    )"servo_task",
//					(uint16_t       )128,
//					(void*          )NULL,
//					(UBaseType_t    )1,
//					(TaskHandle_t*  )&servo_TaskHandle_t);
//	xTaskCreate((TaskFunction_t )oled_task,
//					(const char*    )"oled_task",
//					(uint16_t       )128,
//					(void*          )NULL,
//					(UBaseType_t    )1,
//					(TaskHandle_t*  )&oled_TaskHandle_t);
	xTaskCreate((TaskFunction_t )usart_task,
					(const char*    )"usart_task",
					(uint16_t       )128,
					(void*          )NULL,
					(UBaseType_t    )1,
					(TaskHandle_t*  )&usart_TaskHandle_t);
	xTaskCreate((TaskFunction_t )mpu6050_task,
					(const char*    )"mpu6050_task",
					(uint16_t       )128,
					(void*          )NULL,
					(UBaseType_t    )3,
					(TaskHandle_t*  )&mpu6050_TaskHandle_t);
	xTaskCreate((TaskFunction_t )motor_task,
					(const char*    )"motor_task",
					(uint16_t       )256,
					(void*          )NULL,
					(UBaseType_t    )5,
					(TaskHandle_t*  )&motor_TaskHandle_t);
	xTaskCreate((TaskFunction_t )decision_task,
					(const char*    )"decision_task",
					(uint16_t       )256,  // 需要较大栈空间
					(void*          )NULL,
					(UBaseType_t    )4,    // 中等优先级
					(TaskHandle_t*  )&decision_TaskHandle_t);
	xTaskCreate((TaskFunction_t )state_update_task,
					(const char*    )"state_update_task",
					(uint16_t       )256,  // 需要较大栈空间
					(void*          )NULL,
					(UBaseType_t    )3,    // 中等优先级
					(TaskHandle_t*  )&state_update_TaskHandle_t);
//	xTaskCreate((TaskFunction_t )openmv_task,
//            (const char*    )"openmv_task",
//            (uint16_t       )256,
//            (void*          )NULL,
//            (UBaseType_t    )2,
//            (TaskHandle_t*  )NULL);
	xTaskCreate((TaskFunction_t )eletube_task,
					(const char*    )"eletube_task",
					(uint16_t       )128,  //
					(void*          )NULL,
					(UBaseType_t    )3,    // 中等优先级
					(TaskHandle_t*  )&eletube_TaskHandle_t);
	xTaskCreate((TaskFunction_t )debug_send_task,
					(const char*    )"debug_send_task",
					(uint16_t       )128,  //
					(void*          )NULL,
					(UBaseType_t    )3,    // 中等优先级
					(TaskHandle_t*  )&debug_send_TaskHandle_t);

	vTaskStartScheduler();
  /* USER CODE END 2 */

  /* Infinite loop */
  while (1)
  {

  }
}

void SystemClock_Config(void)
{
  RCC_OscInitTypeDef RCC_OscInitStruct = {0};
  RCC_ClkInitTypeDef RCC_ClkInitStruct = {0};

  /** Initializes the RCC Oscillators according to the specified parameters
  * in the RCC_OscInitTypeDef structure.
  */
  RCC_OscInitStruct.OscillatorType = RCC_OSCILLATORTYPE_HSE;
  RCC_OscInitStruct.HSEState = RCC_HSE_ON;
  RCC_OscInitStruct.HSEPredivValue = RCC_HSE_PREDIV_DIV1;
  RCC_OscInitStruct.HSIState = RCC_HSI_ON;
  RCC_OscInitStruct.PLL.PLLState = RCC_PLL_ON;
  RCC_OscInitStruct.PLL.PLLSource = RCC_PLLSOURCE_HSE;
  RCC_OscInitStruct.PLL.PLLMUL = RCC_PLL_MUL9;
  if (HAL_RCC_OscConfig(&RCC_OscInitStruct) != HAL_OK)
  {
    Error_Handler();
  }

  /** Initializes the CPU, AHB and APB buses clocks
  */
  RCC_ClkInitStruct.ClockType = RCC_CLOCKTYPE_HCLK|RCC_CLOCKTYPE_SYSCLK
                              |RCC_CLOCKTYPE_PCLK1|RCC_CLOCKTYPE_PCLK2;
  RCC_ClkInitStruct.SYSCLKSource = RCC_SYSCLKSOURCE_PLLCLK;
  RCC_ClkInitStruct.AHBCLKDivider = RCC_SYSCLK_DIV1;
  RCC_ClkInitStruct.APB1CLKDivider = RCC_HCLK_DIV2;
  RCC_ClkInitStruct.APB2CLKDivider = RCC_HCLK_DIV1;

  if (HAL_RCC_ClockConfig(&RCC_ClkInitStruct, FLASH_LATENCY_2) != HAL_OK)
  {
    Error_Handler();
  }
}

/* USER CODE BEGIN 4 */
// 堆分配失败钩子
void vApplicationMallocFailedHook(void) {
    while(1) {
        // 内存分配失败处理
    }
}

// 堆栈溢出钩子
void vApplicationStackOverflowHook(TaskHandle_t xTask, char *pcTaskName) {
    (void)xTask;
    (void)pcTaskName;
    while(1) {
        // 堆栈溢出处理
    }
}

// 空闲任务钩子
void vApplicationIdleHook(void) {
    // 可添加低功耗代码
}

//uint8_t MPU6050_InIt(void)
//{
//    uint8_t check;
//    uint8_t Data;
//
//    // 1. 检查设备是否在线
//    if (HAL_I2C_IsDeviceReady(&hi2c2, MPU6050_ADDR << 1, 3, 100) != HAL_OK) {
//        return 1; // 设备未响应
//    }
//
//    // 2. 检查设备ID (WHO_AM_I 寄存器)
//    if (HAL_I2C_Mem_Read(&hi2c2, MPU6050_ADDR << 1, 0x75, I2C_MEMADD_SIZE_8BIT, &check, 1, 1000) != HAL_OK) {
//        return 1; // 读取失败
//    }
//
//    if (check != 0x68) { // 设备ID应为0x68
//        return 1; // 初始化失败
//    }
//
//    // 3. 重置设备（可选但推荐）
//    Data = 0x80; // 复位位
//    if (HAL_I2C_Mem_Write(&hi2c2, MPU6050_ADDR << 1, 0x6B, I2C_MEMADD_SIZE_8BIT, &Data, 1, 1000) != HAL_OK) {
//        return 1; // 复位失败
//    }
//
//    HAL_Delay(100); // 等待复位完成
//
//    // 4. 唤醒MPU6050并选择时钟源
//    Data = 0x01; // 选择X轴陀螺仪作为时钟源
//    if (HAL_I2C_Mem_Write(&hi2c2, MPU6050_ADDR << 1, 0x6B, I2C_MEMADD_SIZE_8BIT, &Data, 1, 1000) != HAL_OK) {
//        return 1; // 唤醒失败
//    }
//
//    // 5. 设置加速度计量程 (±8g)
//    Data = 0x10; // ±8g (灵敏度 4096 LSB/g)
//    if (HAL_I2C_Mem_Write(&hi2c2, MPU6050_ADDR << 1, 0x1C, I2C_MEMADD_SIZE_8BIT, &Data, 1, 1000) != HAL_OK) {
//        return 1; // 加速度计量程设置失败
//    }
//
//    // 6. 设置陀螺仪量程 (±2000°/s)
//    Data = 0x18; // ±2000°/s (灵敏度 16.4 LSB/°/s)
//    if (HAL_I2C_Mem_Write(&hi2c2, MPU6050_ADDR << 1, 0x1B, I2C_MEMADD_SIZE_8BIT, &Data, 1, 1000) != HAL_OK) {
//        return 1; // 陀螺仪量程设置失败
//    }
//
//    // 7. 设置数字低通滤波器 (DLPF)
//    Data = 0x06; // 带宽 5Hz
//    if (HAL_I2C_Mem_Write(&hi2c2, MPU6050_ADDR << 1, 0x1A, I2C_MEMADD_SIZE_8BIT, &Data, 1, 1000) != HAL_OK) {
//        return 1; // 滤波器设置失败
//    }
//
////    // 8. 禁用所有中断（可选）
////    Data = 0x00;
////    if (HAL_I2C_Mem_Write(&hi2c2, MPU6050_ADDR << 1, 0x38, I2C_MEMADD_SIZE_8BIT, &Data, 1, 1000) != HAL_OK) {
////        return 1; // 中断设置失败
////    }
////
////    // 9. 禁用FIFO（可选）
////    Data = 0x00;
////    if (HAL_I2C_Mem_Write(&hi2c2, MPU6050_ADDR << 1, 0x23, I2C_MEMADD_SIZE_8BIT, &Data, 1, 1000) != HAL_OK) {
////        return 1; // FIFO设置失败
////    }
//
//    return 0; // 初始化成功
//}
/* USER CODE END 4 */

void HAL_TIM_PeriodElapsedCallback(TIM_HandleTypeDef *htim)
{
  if (htim->Instance == TIM4) {
    HAL_IncTick();
  }
}

void Error_Handler(void)
{
  __disable_irq();
  while (1)
  {
  }
}
